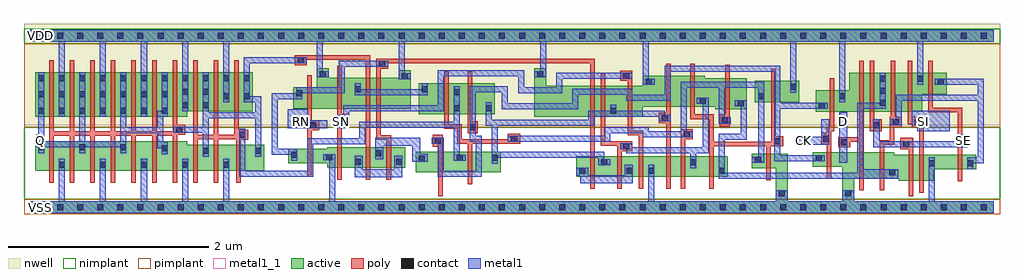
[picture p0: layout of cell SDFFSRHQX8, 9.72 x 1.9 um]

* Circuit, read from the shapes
.subckt SDFFSRHQX8 CK D Q RN SE SI SN VDD VSS
M1 VSS n1 Q VSS nfet w=0.295u l=0.045u m=7
M2 n1 n2 VSS VSS nfet w=0.26u l=0.045u m=3
M3 VSS RN n3 VSS nfet w=0.145u l=0.045u
M4 n4 SN VSS VSS nfet w=0.205u l=0.045u
M5 n5 n1 n4 VSS nfet w=0.205u l=0.045u
M6 n4 n3 n5 VSS nfet w=0.205u l=0.045u
M7 n2 n6 n5 VSS nfet w=0.205u l=0.045u
M8 n7 n8 n2 VSS nfet w=0.205u l=0.045u
M9 n7 n3 n9 VSS nfet w=0.205u l=0.045u
M10 n9 n10 n7 VSS nfet w=0.205u l=0.045u
M11 VSS SN n9 VSS nfet w=0.205u l=0.045u
M12 n11 n7 VSS VSS nfet w=0.205u l=0.045u
M13 n10 n8 n11 VSS nfet w=0.205u l=0.045u
M14 n12 n6 n10 VSS nfet w=0.205u l=0.045u
M15 VSS n6 n8 VSS nfet w=0.145u l=0.045u
M16 VSS CK n6 VSS nfet w=0.145u l=0.045u
M17 n13 D VSS VSS nfet w=0.26u l=0.045u
M18 n12 n14 n13 VSS nfet w=0.26u l=0.045u
M19 n15 SE n12 VSS nfet w=0.26u l=0.045u
M20 VSS SI n15 VSS nfet w=0.26u l=0.045u
M21 n14 SE VSS VSS nfet w=0.145u l=0.045u
M22 VDD n1 Q VDD pfet w=0.445u l=0.045u m=7
M23 n1 n2 VDD VDD pfet w=0.39u l=0.045u m=3
M24 VDD RN n3 VDD pfet w=0.215u l=0.045u
M25 n16 SN VDD VDD pfet w=0.31u l=0.045u
M26 n17 n1 n16 VDD pfet w=0.31u l=0.045u
M27 VDD n3 n17 VDD pfet w=0.31u l=0.045u
M28 n2 n8 n16 VDD pfet w=0.31u l=0.045u
M29 n7 n6 n2 VDD pfet w=0.31u l=0.045u
M30 n18 n3 VDD VDD pfet w=0.31u l=0.045u
M31 n7 n10 n18 VDD pfet w=0.31u l=0.045u
M32 VDD SN n7 VDD pfet w=0.31u l=0.045u
M33 n19 n7 VDD VDD pfet w=0.31u l=0.045u
M34 n10 n6 n19 VDD pfet w=0.31u l=0.045u
M35 n12 n8 n10 VDD pfet w=0.31u l=0.045u
M36 VDD n6 n8 VDD pfet w=0.215u l=0.045u
M37 VDD CK n6 VDD pfet w=0.215u l=0.045u
M38 n20 D VDD VDD pfet w=0.39u l=0.045u
M39 n12 SE n20 VDD pfet w=0.39u l=0.045u
M40 n21 n14 n12 VDD pfet w=0.39u l=0.045u
M41 VDD SI n21 VDD pfet w=0.39u l=0.045u
M42 n14 SE VDD VDD pfet w=0.215u l=0.045u
.ends

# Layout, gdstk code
import gdstk
lib = gdstk.Library(unit=1e-6, precision=5e-10)
def R(c, l, rs):  # rectangles x0, y0, x1, y1
    for r in rs: c.add(gdstk.rectangle(r[:2], r[2:], *l))
def A(c, l, x, y, w, h, nx, ny, dx, dy):  # array of equal rectangles
    R(c, l, [(x+i*dx, y+j*dy, x+i*dx+w, y+j*dy+h) for i in range(nx) for j in range(ny)])
def P(c, l, *ps):  # polygons
    for p in ps: c.add(gdstk.Polygon(p, *l))
active = (1, 0)
nwell = (2, 0)
poly = (3, 0)
nimplant = (4, 0)
pimplant = (5, 0)
contact = (6, 0)
metal1 = (7, 0)
metal1_1 = (7, 1)

sdffsrhqx8 = lib.new_cell('SDFFSRHQX8')
R(sdffsrhqx8, active, [(5.44,0.305,6.95,0.51), (3.84,0.35,4.69,0.555), (3.87,0.925,4.63,1.235), (7.22,1.045,7.66,1.26), (0,1.65,9.6,1.77)])
P(sdffsrhqx8, active, [(0.05,1.345),(2.22,1.345),(2.22,0.955),(1.565,0.955),(1.565,0.9),(0.05,0.9)],
  [(2.855,1.385),(2.975,1.385),(2.975,1.29),(3.67,1.29),(3.67,1.365),(3.79,1.365),(3.79,0.98),(2.62,0.98),(2.62,1.195),(2.855,1.195)],
  [(5.02,1.385),(5.14,1.385),(5.14,1.21),(6.1,1.21),(6.1,1.31),(6.72,1.31),(6.72,1.285),(7.14,1.285),(7.14,0.975),(6.825,0.975),(6.825,1),(6.1,1),(6.1,0.9),(5.02,0.9)],
  [(8.16,1.34),(9.13,1.34),(9.13,1.125),(8.885,1.125),(8.885,0.95),(7.825,0.95),(7.825,1.165),(8.16,1.165)],
  [(0.05,0.66),(1.565,0.66),(1.565,0.625),(2.335,0.625),(2.335,0.365),(0.05,0.365)],
  [(2.96,0.6),(3.735,0.6),(3.735,0.395),(2.96,0.395),(2.96,0.44),(2.57,0.44),(2.57,0.585),(2.96,0.585)],
  [(7.19,0.535),(7.545,0.535),(7.545,0.06),(8.09,0.06),(8.09,0.405),(7.795,0.405),(7.795,0.55),(8.605,0.55),(8.605,0.525),(9.425,0.525),(9.425,0.38),(9,0.38),(9,0.265),(8.65,0.265),(8.65,0.29),(8.21,0.29),(8.21,0.06),(9.6,0.06),(9.6,-0.06),(0,-0.06),(0,0.06),(7.425,0.06),(7.425,0.39),(7.19,0.39)])
R(sdffsrhqx8, nwell, [(-0.06,0.82,9.66,1.83)])
P(sdffsrhqx8, poly, [(0.19,1.465),(0.235,1.465),(0.235,0.76),(0.395,0.76),(0.395,1.465),(0.44,1.465),(0.44,0.76),(0.6,0.76),(0.6,1.465),(0.645,1.465),(0.645,0.76),(0.805,0.76),(0.805,1.465),(0.85,1.465),(0.85,0.76),(1.01,0.76),(1.01,1.465),(1.055,1.465),(1.055,0.76),(1.215,0.76),(1.215,1.465),(1.26,1.465),(1.26,0.76),(1.42,0.76),(1.42,1.465),(1.465,1.465),(1.465,0.825),(1.545,0.825),(1.545,0.725),(1.465,0.725),(1.465,0.245),(1.42,0.245),(1.42,0.715),(1.26,0.715),(1.26,0.245),(1.215,0.245),(1.215,0.715),(1.055,0.715),(1.055,0.245),(1.01,0.245),(1.01,0.715),(0.85,0.715),(0.85,0.245),(0.805,0.245),(0.805,0.715),(0.645,0.715),(0.645,0.245),(0.6,0.245),(0.6,0.715),(0.44,0.715),(0.44,0.245),(0.395,0.245),(0.395,0.715),(0.235,0.715),(0.235,0.245),(0.19,0.245)],
  [(1.625,1.465),(1.67,1.465),(1.67,0.725),(1.83,0.725),(1.83,1.465),(1.875,1.465),(1.875,0.725),(2.035,0.725),(2.035,1.465),(2.08,1.465),(2.08,0.775),(2.175,0.775),(2.175,0.675),(2.1,0.675),(2.1,0.245),(2.055,0.245),(2.055,0.68),(1.875,0.68),(1.875,0.245),(1.83,0.245),(1.83,0.68),(1.67,0.68),(1.67,0.245),(1.625,0.245)],
  [(2.635,1.515),(3.39,1.515),(3.39,0.275),(3.345,0.275),(3.345,1.47),(2.755,1.47),(2.755,1.415),(2.635,1.415)],
  [(2.76,1.315),(2.805,1.315),(2.805,0.87),(2.88,0.87),(2.88,0.77),(2.805,0.77),(2.805,0.32),(2.76,0.32)],
  [(3.06,1.41),(3.105,1.41),(3.105,0.93),(3.18,0.93),(3.18,0.83),(3.105,0.83),(3.105,0.275),(3.06,0.275)],
  [(3.45,1.48),(5.625,1.48),(5.625,0.185),(5.58,0.185),(5.58,1.435),(3.57,1.435),(3.57,1.38),(3.495,1.38),(3.495,0.72),(3.595,0.72),(3.595,0.275),(3.55,0.275),(3.55,0.675),(3.45,0.675)],
  [(5.88,1.36),(6,1.36),(6,0.765),(6.105,0.765),(6.105,0.185),(6.06,0.185),(6.06,0.72),(5.955,0.72),(5.955,1.26),(5.88,1.26)],
  [(4.125,1.355),(4.17,1.355),(4.17,0.83),(4.3,0.83),(4.3,0.68),(4.76,0.68),(4.76,0.735),(4.88,0.735),(4.88,0.635),(4.405,0.635),(4.405,0.23),(4.36,0.23),(4.36,0.635),(4.255,0.635),(4.255,0.785),(4.125,0.785)],
  [(4.36,1.355),(4.405,1.355),(4.405,0.86),(4.46,0.86),(4.46,0.74),(4.36,0.74)],
  [(5.685,1.33),(5.73,1.33),(5.73,0.66),(6,0.66),(6,0.56),(5.895,0.56),(5.895,0.185),(5.85,0.185),(5.85,0.615),(5.685,0.615)],
  [(6.335,1.43),(6.38,1.43),(6.38,0.185),(6.335,0.185),(6.335,0.84),(6.26,0.84),(6.26,0.94),(6.335,0.94)],
  [(6.575,1.43),(6.62,1.43),(6.62,0.925),(6.81,0.925),(6.81,0.655),(7.38,0.655),(7.38,1.38),(7.425,1.38),(7.425,0.71),(7.5,0.71),(7.5,0.61),(7.375,0.61),(7.375,0.27),(7.33,0.27),(7.33,0.61),(6.81,0.61),(6.81,0.185),(6.765,0.185),(6.765,0.88),(6.575,0.88)],
  [(6.925,1.42),(6.97,1.42),(6.97,0.805),(6.87,0.805),(6.87,0.925),(6.925,0.925)],
  [(8.26,1.46),(8.305,1.46),(8.305,0.17),(8.26,0.17),(8.26,0.655),(8.17,0.655),(8.17,0.6),(8.05,0.6),(8.05,0.7),(8.26,0.7)],
  [(8.365,1.46),(8.41,1.46),(8.41,0.88),(8.48,0.88),(8.48,0.76),(8.365,0.76)],
  [(8.57,1.46),(8.615,1.46),(8.615,0.9),(8.68,0.9),(8.68,0.8),(8.605,0.8),(8.605,0.625),(8.505,0.625),(8.505,0.17),(8.46,0.17),(8.46,0.67),(8.56,0.67),(8.56,0.9),(8.57,0.9)],
  [(8.74,1.46),(8.785,1.46),(8.785,0.9),(8.9,0.9),(8.9,0.145),(8.855,0.145),(8.855,0.8),(8.78,0.8),(8.78,0.83),(8.74,0.83)],
  [(7.965,1.285),(8.01,1.285),(8.01,0.76),(7.98,0.76),(7.98,0.285),(7.935,0.285),(7.935,0.625),(7.88,0.625),(7.88,0.745),(7.935,0.745),(7.935,0.805),(7.965,0.805)],
  [(8.945,1.46),(8.99,1.46),(8.99,0.99),(9.285,0.99),(9.285,0.72),(9.34,0.72),(9.34,0.6),(9.285,0.6),(9.285,0.26),(9.24,0.26),(9.24,0.945),(8.945,0.945)],
  [(6.48,0.78),(6.6,0.78),(6.6,0.68),(6.525,0.68),(6.525,0.185),(6.48,0.185)],
  [(4.01,0.725),(4.11,0.725),(4.11,0.11),(4.065,0.11),(4.065,0.605),(4.01,0.605)],
  [(8.665,0.695),(8.795,0.695),(8.795,0.11),(8.75,0.11),(8.75,0.58),(8.665,0.58)])
R(sdffsrhqx8, nimplant, [(-0.06,0.08,9.66,0.8), (-0.06,1.63,9.66,1.78)])
R(sdffsrhqx8, pimplant, [(-0.06,-0.07,9.66,0.08), (-0.06,0.8,9.66,1.63)])
A(sdffsrhqx8, contact, 0.07, -0.03, 0.06, 0.06, 48, 2, 0.2, 1.71)
A(sdffsrhqx8, contact, 0.285, 0.395, 0.06, 0.06, 5, 1, 0.41, 0)
A(sdffsrhqx8, contact, 0.08, 0.57, 0.06, 0.06, 3, 1, 0.41, 0)
A(sdffsrhqx8, contact, 0.08, 0.93, 0.06, 0.06, 7, 2, 0.205, 0.165)
A(sdffsrhqx8, contact, 8.46, 1.01, 0.06, 0.06, 1, 3, 0, 0.12)
A(sdffsrhqx8, contact, 0.08, 1.255, 0.06, 0.06, 11, 1, 0.205, 0)
R(sdffsrhqx8, contact, [(7.455,0.11,7.515,0.17), (8.12,0.11,8.18,0.17), (8.555,0.32,8.615,0.38), (5.47,0.335,5.53,0.395), (5.945,0.335,6.005,0.395), (6.155,0.335,6.215,0.395), (6.86,0.335,6.92,0.395), (8.95,0.41,9.01,0.47), (9.335,0.41,9.395,0.47), (5.69,0.42,5.75,0.48), (6.575,0.42,6.635,0.48), (3.235,0.425,3.295,0.485), (3.645,0.425,3.705,0.485), (7.22,0.445,7.28,0.505), (3.87,0.455,3.93,0.515), (7.825,0.46,7.885,0.52), (4.25,0.465,4.31,0.525), (4.6,0.465,4.66,0.525), (2.95,0.47,3.01,0.53), (2.6,0.495,2.66,0.555), (3.44,0.51,3.5,0.57), (1.72,0.535,1.78,0.595), (2.245,0.535,2.305,0.595), (1.31,0.56,1.37,0.62), (5.91,0.58,5.97,0.64), (8.695,0.6,8.755,0.66), (8.08,0.62,8.14,0.68), (7.41,0.63,7.47,0.69), (9.26,0.63,9.32,0.69), (4.03,0.635,4.09,0.695), (4.79,0.655,4.85,0.715), (7.9,0.655,7.96,0.715), (2.085,0.695,2.145,0.755), (6.51,0.7,6.57,0.76), (1.455,0.745,1.515,0.805), (4.38,0.77,4.44,0.83), (2.79,0.79,2.85,0.85), (8.4,0.79,8.46,0.85), (8.59,0.82,8.65,0.88), (8.81,0.82,8.87,0.88), (6.89,0.835,6.95,0.895), (3.09,0.85,3.15,0.91), (6.29,0.86,6.35,0.92), (5.78,0.93,5.84,0.99), (4.22,0.955,4.28,1.015), (4.54,0.955,4.6,1.015), (7.855,0.98,7.915,1.04), (1.515,0.985,1.575,1.045), (1.72,0.985,1.78,1.045), (7.05,1.005,7.11,1.065), (6.67,1.03,6.73,1.09), (1.925,1.075,1.985,1.135), (2.13,1.075,2.19,1.135), (7.25,1.075,7.31,1.135), (8.06,1.075,8.12,1.135), (2.65,1.105,2.71,1.165), (4.22,1.115,4.28,1.175), (1.515,1.12,1.575,1.18), (1.72,1.12,1.78,1.18), (3.235,1.145,3.295,1.205), (3.9,1.145,3.96,1.205), (7.57,1.17,7.63,1.23), (6.13,1.22,6.19,1.28), (9.04,1.22,9.1,1.28), (8.835,1.25,8.895,1.31), (3.7,1.275,3.76,1.335), (5.91,1.28,5.97,1.34), (2.885,1.295,2.945,1.355), (5.05,1.295,5.11,1.355), (3.48,1.4,3.54,1.46), (2.665,1.435,2.725,1.495)])
R(sdffsrhqx8, metal1, [(8.06,0.445,8.14,0.945)])
P(sdffsrhqx8, metal1, [(0,1.77),(9.6,1.77),(9.6,1.65),(8.895,1.65),(8.895,1.22),(8.835,1.22),(8.835,1.65),(8.12,1.65),(8.12,1.045),(8.06,1.045),(8.06,1.65),(7.63,1.65),(7.63,1.14),(7.57,1.14),(7.57,1.65),(6.16,1.65),(6.16,1.28),(6.22,1.28),(6.22,1.22),(6.1,1.22),(6.1,1.65),(5.14,1.65),(5.14,1.295),(5.02,1.295),(5.02,1.355),(5.08,1.355),(5.08,1.65),(3.73,1.65),(3.73,1.335),(3.79,1.335),(3.79,1.275),(3.67,1.275),(3.67,1.65),(2.915,1.65),(2.915,1.355),(2.975,1.355),(2.975,1.295),(2.855,1.295),(2.855,1.65),(1.985,1.65),(1.985,1.045),(1.925,1.045),(1.925,1.65),(1.575,1.65),(1.575,0.955),(1.515,0.955),(1.515,1.65),(1.165,1.65),(1.165,0.9),(1.105,0.9),(1.105,1.65),(0.755,1.65),(0.755,0.9),(0.695,0.9),(0.695,1.65),(0.345,1.65),(0.345,0.9),(0.285,0.9),(0.285,1.65),(0,1.65)],
  [(0.08,1.345),(0.14,1.345),(0.14,0.66),(0.49,0.66),(0.49,1.345),(0.55,1.345),(0.55,0.66),(0.9,0.66),(0.9,1.345),(0.96,1.345),(0.96,0.8),(1.265,0.8),(1.265,0.96),(1.31,0.96),(1.31,1.345),(1.37,1.345),(1.37,0.9),(1.325,0.9),(1.325,0.65),(1.37,0.65),(1.37,0.53),(1.31,0.53),(1.31,0.59),(1.265,0.59),(1.265,0.74),(0.96,0.74),(0.96,0.54),(0.9,0.54),(0.9,0.6),(0.55,0.6),(0.55,0.54),(0.49,0.54),(0.49,0.6),(0.14,0.6),(0.14,0.54),(0.08,0.54),(0.08,0.6),(0.06,0.6),(0.06,0.73),(0.08,0.73)],
  [(2.13,1.495),(2.755,1.495),(2.755,1.435),(2.19,1.435),(2.19,1.105),(2.305,1.105),(2.305,0.505),(2.245,0.505),(2.245,0.885),(1.78,0.885),(1.78,0.505),(1.72,0.505),(1.72,0.745),(1.425,0.745),(1.425,0.805),(1.72,0.805),(1.72,1.345),(1.78,1.345),(1.78,0.945),(2.245,0.945),(2.245,1.045),(2.13,1.045)],
  [(3.075,1.46),(3.57,1.46),(3.57,1.4),(3.135,1.4),(3.135,1.135),(2.71,1.135),(2.71,1.075),(2.465,1.075),(2.465,0.585),(2.66,0.585),(2.66,0.465),(2.6,0.465),(2.6,0.525),(2.405,0.525),(2.405,1.135),(2.65,1.135),(2.65,1.195),(3.075,1.195)],
  [(4.06,1.365),(4.92,1.365),(4.92,1.195),(5.24,1.195),(5.24,1.34),(6,1.34),(6,1.28),(5.3,1.28),(5.3,1.135),(4.86,1.135),(4.86,1.305),(4.12,1.305),(4.12,0.955),(3.18,0.955),(3.18,0.815),(3.14,0.815),(3.14,0.79),(3.06,0.79),(3.06,0.92),(3.12,0.92),(3.12,1.015),(4.06,1.015)],
  [(0.285,0.485),(0.345,0.485),(0.345,0.06),(0.695,0.06),(0.695,0.485),(0.755,0.485),(0.755,0.06),(1.105,0.06),(1.105,0.485),(1.165,0.485),(1.165,0.06),(1.515,0.06),(1.515,0.485),(1.575,0.485),(1.575,0.06),(1.925,0.06),(1.925,0.485),(1.985,0.485),(1.985,0.06),(2.98,0.06),(2.98,0.47),(2.92,0.47),(2.92,0.53),(3.04,0.53),(3.04,0.06),(6.155,0.06),(6.155,0.425),(6.215,0.425),(6.215,0.06),(7.425,0.06),(7.425,0.17),(7.545,0.17),(7.545,0.06),(8.09,0.06),(8.09,0.17),(8.21,0.17),(8.21,0.06),(8.95,0.06),(8.95,0.5),(9.01,0.5),(9.01,0.06),(9.6,0.06),(9.6,-0.06),(0,-0.06),(0,0.06),(0.285,0.06)],
  [(4.22,1.205),(4.28,1.205),(4.28,0.525),(4.34,0.525),(4.34,0.465),(4.22,0.465),(4.22,0.795),(3.34,0.795),(3.34,0.63),(2.82,0.63),(2.82,0.305),(2.085,0.305),(2.085,0.785),(2.145,0.785),(2.145,0.365),(2.76,0.365),(2.76,0.69),(3.28,0.69),(3.28,0.855),(4.22,0.855)],
  [(3.235,1.235),(3.295,1.235),(3.295,1.175),(3.9,1.175),(3.9,1.235),(3.96,1.235),(3.96,1.115),(3.235,1.115)],
  [(2.565,0.975),(2.765,0.975),(2.765,0.87),(2.96,0.87),(2.96,0.79),(2.565,0.79)],
  [(3.44,0.695),(3.885,0.695),(3.885,0.535),(3.96,0.535),(3.96,0.455),(3.805,0.455),(3.805,0.615),(3.52,0.615),(3.52,0.48),(3.44,0.48)],
  [(6.32,1.41),(7.47,1.41),(7.47,1.04),(7.945,1.04),(7.945,0.98),(7.47,0.98),(7.47,0.52),(7.915,0.52),(7.915,0.46),(7.41,0.46),(7.41,1.35),(6.38,1.35),(6.38,1.06),(5.94,1.06),(5.94,1.12),(5.46,1.12),(5.46,0.975),(4.7,0.975),(4.7,1.145),(4.44,1.145),(4.44,0.715),(4.5,0.715),(4.5,0.305),(4.06,0.305),(4.06,0.635),(4,0.635),(4,0.695),(4.12,0.695),(4.12,0.365),(4.44,0.365),(4.44,0.655),(4.38,0.655),(4.38,1.205),(4.76,1.205),(4.76,1.035),(5.4,1.035),(5.4,1.18),(6,1.18),(6,1.12),(6.32,1.12)],
  [(3.235,0.515),(3.315,0.515),(3.315,0.38),(3.625,0.38),(3.625,0.515),(3.705,0.515),(3.705,0.3),(3.235,0.3)],
  [(4.54,1.045),(4.6,1.045),(4.6,0.875),(5.56,0.875),(5.56,0.96),(5.78,0.96),(5.78,1.02),(5.84,1.02),(5.84,0.96),(6.32,0.96),(6.32,0.92),(6.38,0.92),(6.38,0.86),(6.26,0.86),(6.26,0.9),(5.62,0.9),(5.62,0.815),(4.66,0.815),(4.66,0.555),(5.72,0.555),(5.72,0.48),(5.78,0.48),(5.78,0.42),(5.66,0.42),(5.66,0.495),(4.66,0.495),(4.66,0.435),(4.6,0.435),(4.6,0.815),(4.54,0.815)],
  [(6.48,1.25),(7.31,1.25),(7.31,0.445),(7.19,0.445),(7.19,0.505),(7.25,0.505),(7.25,1.19),(6.92,1.19),(6.92,0.895),(6.98,0.895),(6.98,0.835),(6.86,0.835),(6.86,1.19),(6.54,1.19),(6.54,0.76),(6.6,0.76),(6.6,0.7),(6.1,0.7),(6.1,0.74),(5.78,0.74),(5.78,0.655),(4.76,0.655),(4.76,0.715),(5.72,0.715),(5.72,0.8),(6.16,0.8),(6.16,0.76),(6.48,0.76)],
  [(6.64,1.09),(6.76,1.09),(6.76,0.54),(6.635,0.54),(6.635,0.39),(6.575,0.39),(6.575,0.54),(5.94,0.54),(5.94,0.58),(5.88,0.58),(5.88,0.64),(6,0.64),(6,0.6),(6.7,0.6),(6.7,1.03),(6.64,1.03)],
  [(7.02,1.065),(7.14,1.065),(7.14,0.675),(6.92,0.675),(6.92,0.345),(8.24,0.345),(8.24,1.04),(8.46,1.04),(8.46,1.34),(8.52,1.34),(8.52,0.98),(8.3,0.98),(8.3,0.38),(8.645,0.38),(8.645,0.285),(6.86,0.285),(6.86,0.735),(7.08,0.735),(7.08,1.005),(7.02,1.005)],
  [(5.44,0.395),(5.56,0.395),(5.56,0.32),(5.925,0.32),(5.925,0.425),(6.005,0.425),(6.005,0.24),(5.48,0.24),(5.48,0.315),(5.44,0.315)],
  [(9.01,1.28),(9.5,1.28),(9.5,0.44),(9.395,0.44),(9.395,0.38),(9.335,0.38),(9.335,0.5),(9.44,0.5),(9.44,1.06),(8.68,1.06),(8.68,0.82),(8.56,0.82),(8.56,0.88),(8.62,0.88),(8.62,1.12),(9.44,1.12),(9.44,1.22),(9.01,1.22)],
  [(7.88,0.88),(7.96,0.88),(7.96,0.625),(7.635,0.625),(7.635,0.705),(7.88,0.705)],
  [(8.4,0.88),(8.46,0.88),(8.46,0.66),(9.26,0.66),(9.26,0.73),(9.34,0.73),(9.34,0.6),(8.4,0.6)],
  [(8.78,0.96),(9.16,0.96),(9.16,0.76),(8.835,0.76),(8.835,0.82),(8.78,0.82)])
R(sdffsrhqx8, metal1_1, [(0.06,-0.04,0.14,0.04), (0.06,0.625,0.14,0.705), (7.66,0.625,7.74,0.705), (9.26,0.625,9.34,0.705), (2.66,0.815,2.74,0.895), (3.06,0.815,3.14,0.895), (8.06,0.815,8.14,0.895), (8.86,0.815,8.94,0.895), (0.06,1.67,0.14,1.75)])
sdffsrhqx8.add(gdstk.Label('SE', (9.3,0.665), layer=7, texttype=1))
sdffsrhqx8.add(gdstk.Label('SI', (8.9,0.855), layer=7, texttype=1))
sdffsrhqx8.add(gdstk.Label('D', (8.1,0.855), layer=7, texttype=1))
sdffsrhqx8.add(gdstk.Label('CK', (7.7,0.665), layer=7, texttype=1))
sdffsrhqx8.add(gdstk.Label('SN', (3.1,0.855), layer=7, texttype=1))
sdffsrhqx8.add(gdstk.Label('RN', (2.7,0.855), layer=7, texttype=1))
sdffsrhqx8.add(gdstk.Label('Q', (0.1,0.665), layer=7, texttype=1))
sdffsrhqx8.add(gdstk.Label('VDD', (0.1,1.71), layer=7, texttype=1))
sdffsrhqx8.add(gdstk.Label('VSS', (0.1,0), layer=7, texttype=1))
sdffsrhqx8.add(gdstk.Label('SDFFSRHQX8', (0,0), layer=63, texttype=0))

lib.write_gds('SDFFSRHQX8.gds')
